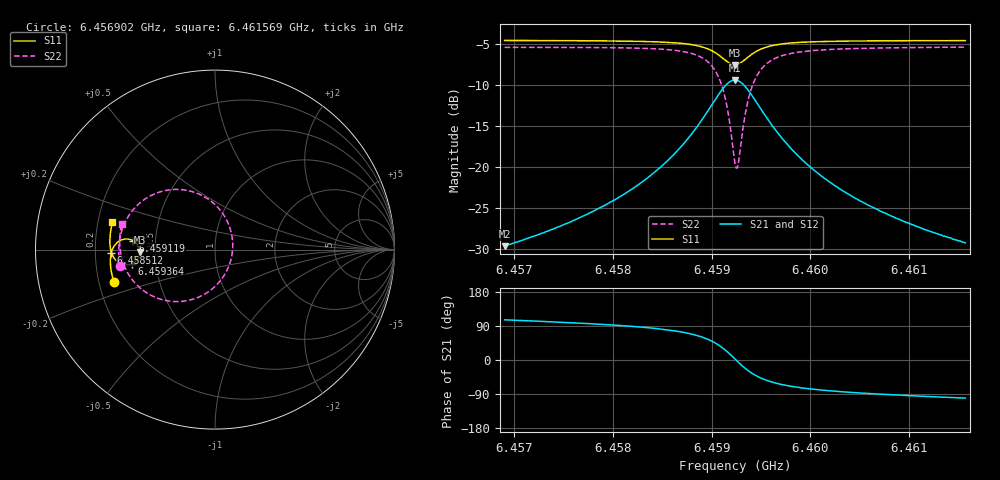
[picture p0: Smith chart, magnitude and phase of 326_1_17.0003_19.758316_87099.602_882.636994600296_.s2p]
#  HZ  S  RI  R  50.00
! Rohde & Schwarz Vector Network Analyzer
! Rohde-Schwarz,ZNB20-2Port,1311601062101988,3.16
! Created: UTC 3/20/2024, 11:06:42 PM
! freq[Hz]  re:S11  im:S11  re:S21  im:S21  re:S12  im:S12  re:S22  im:S22
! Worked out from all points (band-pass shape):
!   401 points, 6.456902 GHz to 6.461569 GHz, reference 50 ohm
!   highest |S21| = -9.38 dB at 6.459236 GHz (marker M1); lowest = -29.6 dB at 6.456902 GHz (marker M2)
!   |S21| within 3 dB of the highest: 6.459002 GHz to 6.459469 GHz (466.5 kHz wide, 0.00722 % of centre)
!   lowest |S11| = -7.5 dB at 6.459236 GHz (marker M3), VSWR 2.45, Z = 20.4 - j0.643 ohm
!   |S11| at or under -10 dB: nowhere
!   |S22| runs from -20.1 to -5.4 dB; largest |S21 - S12| = 0.013
!   S11 on the Smith chart (normalised r, x): 6.456902 GHz: 0.26, -0.14; 6.458512 GHz: 0.27, -0.02; 6.459119 GHz: 0.37, +0.05; 6.459364 GHz: 0.37, -0.07; 6.461569 GHz: 0.26, +0.12
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6.4569021e9  -0.5649 -0.1782  -0.00909 0.0317  -0.00734 0.0317  -0.5301 -0.0902
6.4576838e9  -0.5797 -0.1101  -0.00595 0.0496  -0.00351 0.0489  -0.5367 -0.000313
6.4581039e9  -0.5831 -0.0683  -0.000433 0.068  0.00281 0.0668  -0.5298 0.0647
6.4584656e9  -0.5797 -0.0254  0.0133 0.0972  0.0171 0.0946  -0.505 0.1439
6.4585123e9  -0.5783 -0.0192  0.0165 0.1026  0.0205 0.0996  -0.4988 0.157
6.4587223e9  -0.5663 0.0127  0.0421 0.1339  0.0463 0.1293  -0.4511 0.228
6.458874e9  -0.5454 0.0391  0.0842 0.1639  0.0874 0.1576  -0.3743 0.2916
6.4590257e9  -0.4998 0.0591  0.1745 0.1831  0.1757 0.1758  -0.2095 0.3354
6.4591191e9  -0.4556 0.0492  0.2632 0.1527  0.2637 0.1468  -0.0461 0.2867
6.4591657e9  -0.4346 0.0306  0.3064 0.1106  0.3077 0.1053  0.0352 0.2121
6.4592358e9  -0.4198 -0.013  0.3393 0.0153  0.3428 0.00842  0.0988 0.0363
6.4592474e9  -0.4203 -0.0209  0.3393 -0.00223  0.3428 -0.00986  0.0985 0.00351
6.4592708e9  -0.4238 -0.0362  0.3339 -0.0363  0.3374 -0.0453  0.0876 -0.0607
6.4593291e9  -0.4442 -0.0669  0.2964 -0.1072  0.2976 -0.1192  0.0124 -0.1932
6.4593641e9  -0.4608 -0.078  0.2648 -0.1357  0.2638 -0.1484  -0.0512 -0.2444
6.4594575e9  -0.5038 -0.0847  0.1817 -0.1665  0.1755 -0.1777  -0.2159 -0.2897
6.4596091e9  -0.547 -0.0643  0.0952 -0.1533  0.087 -0.1593  -0.3794 -0.2418
6.4597725e9  -0.5684 -0.0368  0.0511 -0.1261  0.0437 -0.1289  -0.4582 -0.1715
6.4600175e9  -0.5811 -0.00125  0.0223 -0.0953  0.0166 -0.096  -0.5056 -0.0905
6.4603793e9  -0.5856 0.0411  0.00615 -0.0684  0.00221 -0.068  -0.5272 -0.0104
6.4607993e9  -0.5838 0.0831  -0.00125 -0.051  -0.00405 -0.0501  -0.5311 0.0553
6.4615694e9  -0.5715 0.1511  -0.00633 -0.034  -0.00799 -0.0331  -0.5197 0.1448
